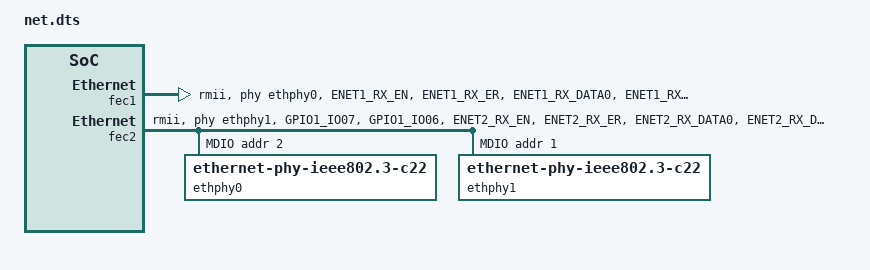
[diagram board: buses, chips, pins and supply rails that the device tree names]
&fec1 {
	pinctrl-names = "default";
	pinctrl-0 = <&pinctrl_enet1
				&pinctrl_enet1_reset>;
	phy-mode = "rmii";
	phy-handle = <&ethphy0>;
	phy-reset-gpios = <&gpio5 7 GPIO_ACTIVE_LOW>;
	phy-reset-duration = <200>;
	status = "okay";
};

&fec2 {
	pinctrl-names = "default";
	pinctrl-0 = <&pinctrl_enet2
				&pinctrl_enet2_reset>;
	phy-mode = "rmii";
	phy-handle = <&ethphy1>;
	phy-reset-gpios = <&gpio5 8 GPIO_ACTIVE_LOW>;
	phy-reset-duration = <200>;
	status = "okay";

	mdio {
		#address-cells = <1>;
		#size-cells = <0>;

		ethphy0: ethernet-phy@2 {
			compatible = "ethernet-phy-ieee802.3-c22";
			smsc,disable-energy-detect;
			reg = <2>;
		};

		ethphy1: ethernet-phy@1 {
			compatible = "ethernet-phy-ieee802.3-c22";
			smsc,disable-energy-detect;
			reg = <1>;
		};
	};
};

&iomuxc {
    pinctrl_enet1: enet1grp {
        fsl,pins = <
            MX6UL_PAD_ENET1_RX_EN__ENET1_RX_EN	0x1b0b0
            MX6UL_PAD_ENET1_RX_ER__ENET1_RX_ER	0x1b0b0
            MX6UL_PAD_ENET1_RX_DATA0__ENET1_RDATA00	0x1b0b0
            MX6UL_PAD_ENET1_RX_DATA1__ENET1_RDATA01	0x1b0b0
            MX6UL_PAD_ENET1_TX_EN__ENET1_TX_EN	0x1b0b0
            MX6UL_PAD_ENET1_TX_DATA0__ENET1_TDATA00	0x1b0b0
            MX6UL_PAD_ENET1_TX_DATA1__ENET1_TDATA01	0x1b0b0
            MX6UL_PAD_ENET1_TX_CLK__ENET1_REF_CLK1	0x4001b031
        >;
    };

    pinctrl_enet2: enet2grp {
        fsl,pins = <
            MX6UL_PAD_GPIO1_IO07__ENET2_MDC		0x1b0b0
            MX6UL_PAD_GPIO1_IO06__ENET2_MDIO	0x1b0b0
            MX6UL_PAD_ENET2_RX_EN__ENET2_RX_EN	0x1b0b0
            MX6UL_PAD_ENET2_RX_ER__ENET2_RX_ER	0x1b0b0
            MX6UL_PAD_ENET2_RX_DATA0__ENET2_RDATA00	0x1b0b0
            MX6UL_PAD_ENET2_RX_DATA1__ENET2_RDATA01	0x1b0b0
            MX6UL_PAD_ENET2_TX_EN__ENET2_TX_EN	0x1b0b0
            MX6UL_PAD_ENET2_TX_DATA0__ENET2_TDATA00	0x1b0b0
            MX6UL_PAD_ENET2_TX_DATA1__ENET2_TDATA01	0x1b0b0
            MX6UL_PAD_ENET2_TX_CLK__ENET2_REF_CLK2	0x4001b031
        >;
    };
};

&iomuxc_snvs {
    pinctrl_enet1_reset: enet1resetgrp {
                fsl,pins = <
                    MX6ULL_PAD_SNVS_TAMPER7__GPIO5_IO07 0x10B0 /* ENET1 RESET */
                >;
            };

    pinctrl_enet2_reset: enet2resetgrp {
        fsl,pins = <
            MX6ULL_PAD_SNVS_TAMPER8__GPIO5_IO08 0x10B0 /* ENET2 RESET */
        >;
    };
};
